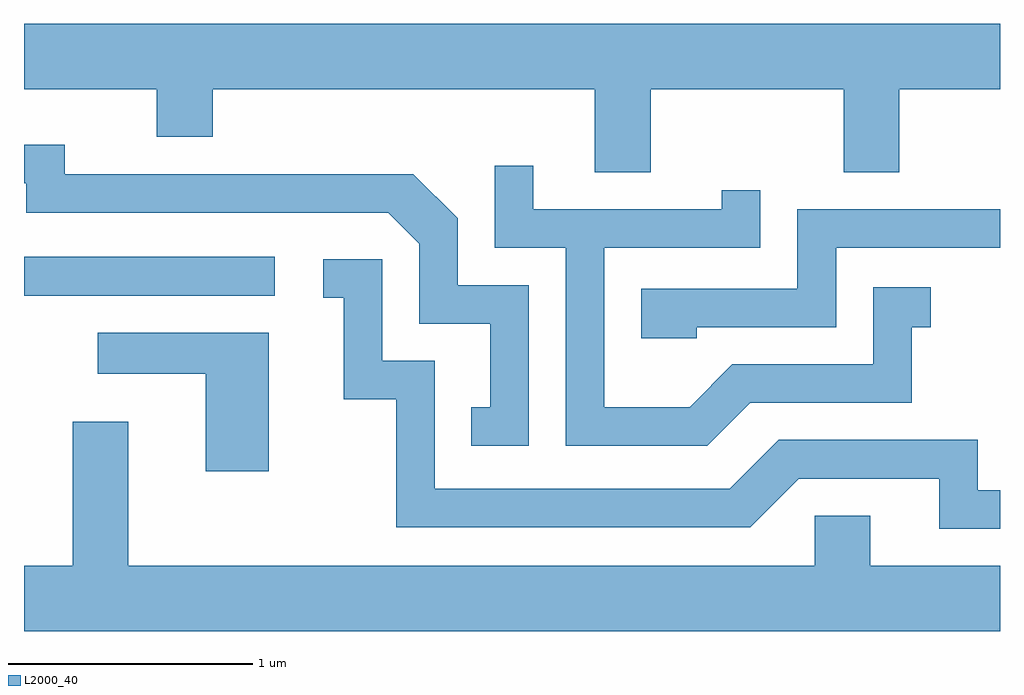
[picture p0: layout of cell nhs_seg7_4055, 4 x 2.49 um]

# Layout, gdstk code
import gdstk
lib = gdstk.Library(unit=1e-6, precision=1e-09)
def R(c, l, rs):  # rectangles x0, y0, x1, y1
    for r in rs: c.add(gdstk.rectangle(r[:2], r[2:], *l))
def P(c, l, *ps):  # polygons
    for p in ps: c.add(gdstk.Polygon(p, *l))
L2000_40 = (2000, 40)

nhs_seg7_4055 = lib.new_cell('nhs_seg7_4055')
R(nhs_seg7_4055, L2000_40, [(309.611,1695.711,310.638,1695.869)])
P(nhs_seg7_4055, L2000_40, [(309.611,1696.556),(310.156,1696.556),(310.156,1696.361),(310.384,1696.361),(310.384,1696.556),(311.951,1696.556),(311.951,1696.216),(312.179,1696.216),(312.179,1696.556),(312.971,1696.556),(312.971,1696.216),(313.199,1696.216),(313.199,1696.556),(313.611,1696.556),(313.611,1696.824),(309.611,1696.824)],
  [(311.679,1695.754),(311.389,1695.754),(311.389,1696.027),(311.207,1696.209),(309.779,1696.209),(309.779,1696.329),(309.611,1696.329),(309.611,1696.171),(309.621,1696.171),(309.621,1696.051),(311.104,1696.051),(311.231,1695.924),(311.231,1695.596),(311.521,1695.596),(311.521,1695.254),(311.443,1695.254),(311.443,1695.096),(311.679,1695.096)],
  [(312.587,1695.271),(313.249,1695.271),(313.249,1695.581),(313.328,1695.581),(313.328,1695.744),(313.091,1695.744),(313.091,1695.429),(312.514,1695.429),(312.339,1695.254),(311.989,1695.254),(311.989,1695.906),(312.629,1695.906),(312.629,1696.143),(312.471,1696.143),(312.471,1696.064),(311.699,1696.064),(311.699,1696.243),(311.541,1696.243),(311.541,1695.906),(311.831,1695.906),(311.831,1695.096),(312.412,1695.096)],
  [(312.369,1695.581),(312.939,1695.581),(312.939,1695.906),(313.611,1695.906),(313.611,1696.064),(312.781,1696.064),(312.781,1695.739),(312.141,1695.739),(312.141,1695.536),(312.369,1695.536)],
  [(313.611,1694.914),(313.519,1694.914),(313.519,1695.119),(312.704,1695.119),(312.504,1694.919),(311.294,1694.919),(311.294,1695.444),(311.079,1695.444),(311.079,1695.859),(310.838,1695.859),(310.838,1695.701),(310.921,1695.701),(310.921,1695.286),(311.136,1695.286),(311.136,1694.761),(312.587,1694.761),(312.787,1694.961),(313.361,1694.961),(313.361,1694.756),(313.611,1694.756)],
  [(310.614,1695.559),(309.913,1695.559),(309.913,1695.391),(310.356,1695.391),(310.356,1694.991),(310.614,1694.991)],
  [(313.611,1694.604),(313.079,1694.604),(313.079,1694.809),(312.851,1694.809),(312.851,1694.604),(310.039,1694.604),(310.039,1695.194),(309.811,1695.194),(309.811,1694.604),(309.611,1694.604),(309.611,1694.336),(313.611,1694.336)])

lib.write_gds('nhs_seg7_4055.gds')
